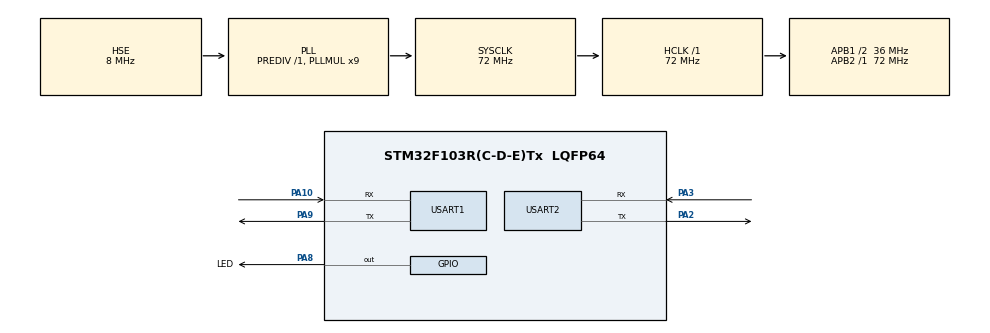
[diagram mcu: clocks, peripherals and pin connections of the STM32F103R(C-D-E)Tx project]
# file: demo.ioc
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Mcu.Family=STM32F1
Mcu.Name=STM32F103R(C-D-E)Tx
Mcu.Package=LQFP64
NVIC.PriorityGroup=NVIC_PRIORITYGROUP_4
NVIC.USART1_IRQn=true\:0\:0\:false\:false\:true\:true\:true\:true
PA10.Mode=Asynchronous
PA10.Signal=USART1_RX
PA13.Mode=Serial_Wire
PA13.Signal=SYS_JTMS-SWDIO
PA14.Mode=Serial_Wire
PA14.Signal=SYS_JTCK-SWCLK
PA2.Mode=Asynchronous
PA2.Signal=USART2_TX
PA3.Mode=Asynchronous
PA3.Signal=USART2_RX
PA8.GPIO_Label=LED
PA8.Signal=GPIO_Output
PA9.Mode=Asynchronous
PA9.Signal=USART1_TX
PD0-OSC_IN.Mode=HSE-External-Oscillator
PD0-OSC_IN.Signal=RCC_OSC_IN
PD1-OSC_OUT.Mode=HSE-External-Oscillator
PD1-OSC_OUT.Signal=RCC_OSC_OUT
ProjectManager.HeapSize=0x200
ProjectManager.StackSize=0x400
ProjectManager.TargetToolchain=MDK-ARM V5
RCC.AHBFreq_Value=72000000
RCC.APB1CLKDivider=RCC_HCLK_DIV2
RCC.APB1Freq_Value=36000000
RCC.APB1TimFreq_Value=72000000
RCC.APB2Freq_Value=72000000
RCC.APB2TimFreq_Value=72000000
RCC.HCLKFreq_Value=72000000
RCC.PLLMUL=RCC_PLL_MUL9
RCC.PLLSourceVirtual=RCC_PLLSOURCE_HSE
RCC.SYSCLKFreq_VALUE=72000000
RCC.SYSCLKSource=RCC_SYSCLKSOURCE_PLLCLK
RCC.USBFreq_Value=72000000
RealThread.RT-Thread.3.1.5.RT_CONSOLEBUF_SIZE=256
RealThread.RT-Thread.3.1.5.RT_DEBUG=1
RealThread.RT-Thread.3.1.5.RT_DEBUG_INIT=1
RealThread.RT-Thread.3.1.5.RT_USING_DEVICE=0
RealThread.RT-Thread.3.1.5.RT_USING_OVERFLOW_CHECK=1
USART1.VirtualMode=VM_ASYNC
USART2.VirtualMode=VM_ASYNC
board=custom

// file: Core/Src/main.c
/* USER CODE BEGIN Header */
/**
 ******************************************************************************
 * @file           : main.c
 * @brief          : Main program body
 ******************************************************************************
 * @attention
 *
 * <h2><center>&copy; Copyright (c) 2022 STMicroelectronics.
 * All rights reserved.</center></h2>
 *
 * This software component is licensed by ST under BSD 3-Clause license,
 * the "License"; You may not use this file except in compliance with the
 * License. You may obtain a copy of the License at:
 *                        opensource.org/licenses/BSD-3-Clause
 *
 ******************************************************************************
 */
/* USER CODE END Header */
#include "main.h"
#include "usart.h"
#include "gpio.h"

/* USER CODE BEGIN Includes */
#include "cmsis_os.h"
/* USER CODE END Includes */

/* USER CODE BEGIN PV */
// task1
#define TASK1_STK_SIZE 256
void task1(void* pdata);
osThreadDef(task1, osPriorityNormal, 1, TASK1_STK_SIZE);

// task2
#define TASK2_STK_SIZE 256
void task2(void* pdata);
osThreadDef(task2, osPriorityNormal, 1, TASK2_STK_SIZE);
/* USER CODE END PV */

void SystemClock_Config(void);

/* USER CODE BEGIN 0 */
void task1(void* pdata)
{
    int count = 1;
    while (1) {
        printf("\r\nHello world!\r\n###This is task1 ,count is %d \r\n", count++);
        HAL_GPIO_TogglePin(LED_GPIO_Port, LED_Pin);
        osDelay(2000);
    }
}
void task2(void* pdata)
{
    int count = 1;
    while (1) {
        printf("\r\nHello TencentOS !\r\n***This is task2 ,count is %d \r\n", count++);
        osDelay(1000);
    }
}

/* USER CODE END 0 */

int main(void)
{
    HAL_Init();
    SystemClock_Config();
    /* Initialize all configured peripherals */
    MX_GPIO_Init();
    MX_USART1_UART_Init();
    MX_USART2_UART_Init();
    /* USER CODE BEGIN 2 */
    osKernelInitialize();                   // TOS Tiny kernel initialize
    osThreadCreate(osThread(task1), NULL);  // Create task1
    osThreadCreate(osThread(task2), NULL);  // Create task2
    osKernelStart();                        // Start TOS Tiny
    /* USER CODE END 2 */

    /* Infinite loop */
    while (1) {

    }
}

void SystemClock_Config(void)
{
    RCC_OscInitTypeDef RCC_OscInitStruct = {0};
    RCC_ClkInitTypeDef RCC_ClkInitStruct = {0};

    /** Initializes the RCC Oscillators according to the specified parameters
     * in the RCC_OscInitTypeDef structure.
     */
    RCC_OscInitStruct.OscillatorType = RCC_OSCILLATORTYPE_HSE;
    RCC_OscInitStruct.HSEState       = RCC_HSE_ON;
    RCC_OscInitStruct.HSEPredivValue = RCC_HSE_PREDIV_DIV1;
    RCC_OscInitStruct.HSIState       = RCC_HSI_ON;
    RCC_OscInitStruct.PLL.PLLState   = RCC_PLL_ON;
    RCC_OscInitStruct.PLL.PLLSource  = RCC_PLLSOURCE_HSE;
    RCC_OscInitStruct.PLL.PLLMUL     = RCC_PLL_MUL9;
    if (HAL_RCC_OscConfig(&RCC_OscInitStruct) != HAL_OK) {
        Error_Handler();
    }

    /** Initializes the CPU, AHB and APB buses clocks
     */
    RCC_ClkInitStruct.ClockType      = RCC_CLOCKTYPE_HCLK | RCC_CLOCKTYPE_SYSCLK | RCC_CLOCKTYPE_PCLK1 | RCC_CLOCKTYPE_PCLK2;
    RCC_ClkInitStruct.SYSCLKSource   = RCC_SYSCLKSOURCE_PLLCLK;
    RCC_ClkInitStruct.AHBCLKDivider  = RCC_SYSCLK_DIV1;
    RCC_ClkInitStruct.APB1CLKDivider = RCC_HCLK_DIV2;
    RCC_ClkInitStruct.APB2CLKDivider = RCC_HCLK_DIV1;

    if (HAL_RCC_ClockConfig(&RCC_ClkInitStruct, FLASH_LATENCY_2) != HAL_OK) {
        Error_Handler();
    }
}

void Error_Handler(void)
{
}
